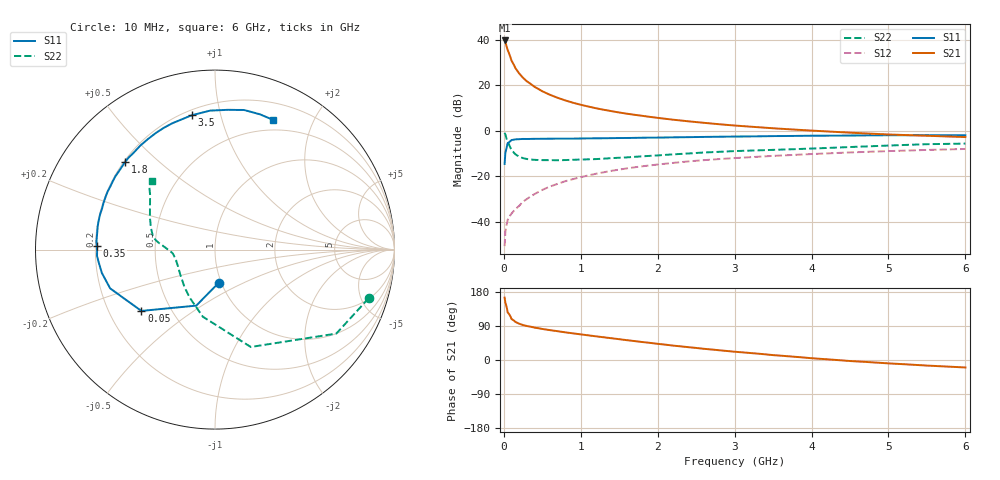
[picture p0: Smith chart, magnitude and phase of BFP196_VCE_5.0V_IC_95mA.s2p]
! Infineon Technologies  Discrete & RF Semiconductors
! BFP196
! VCE =  5.0 V,  IC =  95 mA
! Common Emitter S-Parameters:  Jan 2017
# GHz  S  MA  R  50
!  f  S11  S21  S12  S22
! GHz  MAG  ANG  MAG  ANG  MAG  ANG  MAG  ANG
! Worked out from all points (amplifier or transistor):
!   77 points, 10 MHz to 6 GHz, reference 50 ohm
!   highest |S21| = 39.6 dB at 10 MHz (marker M1)
!   |S21| within 3 dB of that: start of sweep to 39.32 MHz
!   unconditionally stable (mu >= 1): 389.7 MHz to 2.393 GHz
!   at 130 MHz: K = 0.76, MSG = 32.1 dB, |S12| = -35.2 dB
!   at 2.2 GHz: K = 1.01, MAG = 8.9 dB, |S12| = -14.2 dB
!   at 6 GHz: K = 0.96, MSG = 2.6 dB, |S12| = -8.0 dB
!   S11 on the Smith chart (normalised r, x): 10 MHz: 0.97, -0.37; 50 MHz: 0.34, -0.32; 350 MHz: 0.21, +0.02; 1.8 GHz: 0.21, +0.39; 3.5 GHz: 0.23, +0.82; 6 GHz: 0.38, +1.47
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0.01  0.1857 -83.5  95.91 164.6  0.0029 79.4  0.8979 -17.6
0.02  0.3292 -108.5  88.75 151.2  0.006 77.1  0.8221 -34.7
0.05  0.5338 -140.2  59.07 125.4  0.011 58.1  0.5781 -69.8
0.1  0.6229 -159.7  34.48 108.0  0.0151 59.6  0.38 -100.3
0.15  0.6438 -168.4  23.74 100.5  0.0187 62.5  0.3026 -117.8
0.2  0.6506 -173.1  18.02 95.7  0.0224 65.0  0.268 -129.6
0.25  0.6583 -176.8  14.5 92.2  0.0276 66.1  0.2489 -137.5
0.3  0.6568 -179.6  12.11 89.7  0.0316 68.4  0.2384 -144.3
0.35  0.6589 178.1  10.63 87.8  0.036 69.2  0.2329 -148.4
0.4  0.662 175.9  9.16 85.4  0.0405 69.8  0.2286 -152.6
0.5  0.6629 172.1  7.334 81.9  0.05 70.2  0.2252 -158.3
0.6  0.6664 168.8  6.139 78.8  0.0593 69.9  0.2254 -162.6
0.8  0.6695 163.0  4.615 72.9  0.0777 69.5  0.2261 -168.3
1.1  0.6765 154.4  3.381 65.0  0.1042 66.1  0.2347 -173.8
1.4  0.6849 146.3  2.684 57.4  0.1313 62.4  0.249 -177.9
1.8  0.6999 135.5  2.119 47.4  0.165 56.6  0.2735 178.2
2.1  0.7081 128.1  1.824 40.5  0.188 52.1  0.2938 175.4
3.1  0.7447 107.0  1.261 20.2  0.2555 38.0  0.3602 165.8
3.5  0.7596 99.8  1.129 12.9  0.2792 33.2  0.3786 160.8
4.1  0.7753 90.5  0.983 3.3  0.3113 25.7  0.4106 152.0
5.1  0.7936 76.9  0.814 -10.0  0.3597 13.9  0.4776 139.3
6  0.7921 66.0  0.723 -19.8  0.3965 3.8  0.5199 132.8
